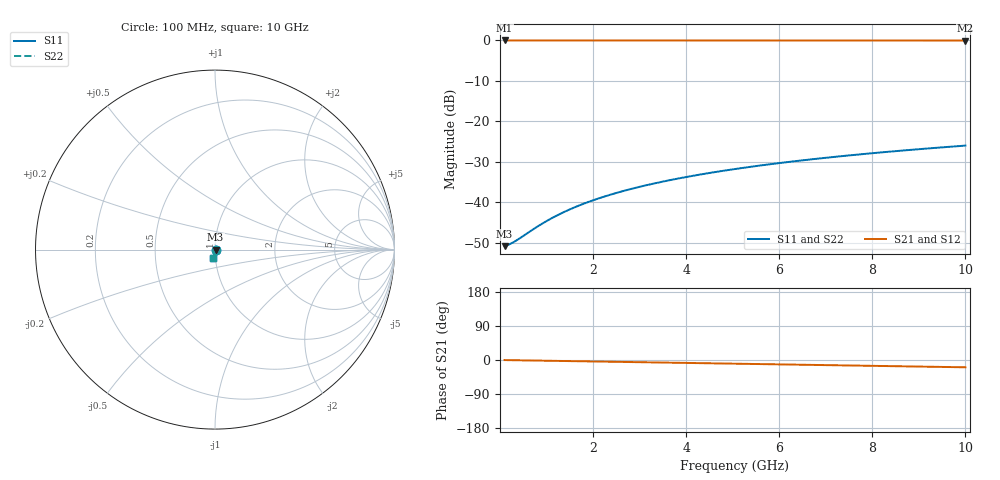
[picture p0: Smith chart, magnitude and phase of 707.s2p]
# Hz S RI R 50.00
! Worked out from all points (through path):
!   100 points, 100 MHz to 10 GHz, reference 50 ohm
!   highest |S21| = -0.02 dB at 100 MHz (marker M1); lowest = 0.0 dB at 10 GHz (marker M2)
!   group delay of S21, straight-line fit = 5.35 ps
!   lowest |S11| = -50.9 dB at 100 MHz (marker M3), VSWR 1.01, Z = 50.3 - j0.052 ohm
!   |S11| at or under -10 dB: start of sweep to end of sweep
!   |S22| runs from -50.9 to -26.0 dB; largest |S21 - S12| = 0
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1e8  0.00282 -0.000517  0.9972 -0.00335  0.9972 -0.00335  0.00282 -0.000517
2e8  0.00283 -0.00103  0.9971 -0.0067  0.9971 -0.0067  0.00283 -0.00103
3e8  0.00283 -0.00155  0.9971 -0.0101  0.9971 -0.0101  0.00283 -0.00155
4e8  0.00283 -0.00207  0.997 -0.0134  0.997 -0.0134  0.00283 -0.00207
8e8  0.00277 -0.00414  0.9967 -0.0268  0.9967 -0.0268  0.00277 -0.00414
1.1e9  0.00269 -0.00569  0.9964 -0.0368  0.9964 -0.0368  0.00269 -0.00569
1.4e9  0.00257 -0.00724  0.9959 -0.0469  0.9959 -0.0469  0.00257 -0.00724
1.6e9  0.00247 -0.00827  0.9956 -0.0536  0.9956 -0.0536  0.00247 -0.00827
1.8e9  0.00236 -0.0093  0.9951 -0.0603  0.9951 -0.0603  0.00236 -0.0093
2.1e9  0.00217 -0.0108  0.9945 -0.0703  0.9945 -0.0703  0.00217 -0.0108
2.5e9  0.00186 -0.0129  0.9934 -0.0837  0.9934 -0.0837  0.00186 -0.0129
2.9e9  0.0015 -0.0149  0.9921 -0.097  0.9921 -0.097  0.0015 -0.0149
3.4e9  0.000963 -0.0175  0.9903 -0.1137  0.9903 -0.1137  0.000963 -0.0175
3.8e9  0.000477 -0.0195  0.9886 -0.127  0.9886 -0.127  0.000477 -0.0195
4.2e9  -6.42e-05 -0.0215  0.9867 -0.1402  0.9867 -0.1402  -6.42e-05 -0.0215
4.6e9  -0.000659 -0.0235  0.9847 -0.1535  0.9847 -0.1535  -0.000659 -0.0235
5.1e9  -0.00148 -0.0259  0.9819 -0.17  0.9819 -0.17  -0.00148 -0.0259
5.9e9  -0.00295 -0.0298  0.9768 -0.1963  0.9768 -0.1963  -0.00295 -0.0298
6.7e9  -0.00464 -0.0336  0.971 -0.2225  0.971 -0.2225  -0.00464 -0.0336
7.5e9  -0.00652 -0.0373  0.9645 -0.2485  0.9645 -0.2485  -0.00652 -0.0373
8.4e9  -0.00888 -0.0413  0.9563 -0.2775  0.9563 -0.2775  -0.00888 -0.0413
1e10  -0.0136 -0.0482  0.9396 -0.3284  0.9396 -0.3284  -0.0136 -0.0482
